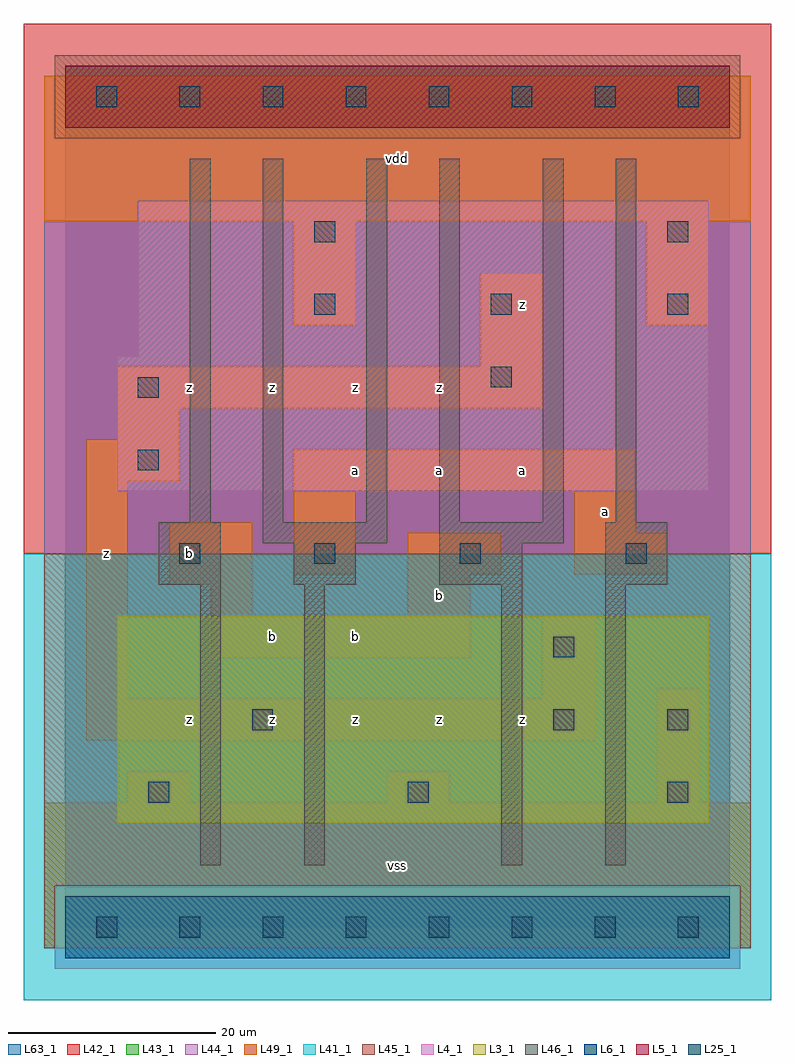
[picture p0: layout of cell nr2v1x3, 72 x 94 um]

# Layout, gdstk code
import gdstk
lib = gdstk.Library(unit=1e-6, precision=1e-09)
def R(c, l, rs):  # rectangles x0, y0, x1, y1
    for r in rs: c.add(gdstk.rectangle(r[:2], r[2:], *l))
def A(c, l, x, y, w, h, nx, ny, dx, dy):  # array of equal rectangles
    R(c, l, [(x+i*dx, y+j*dy, x+i*dx+w, y+j*dy+h) for i in range(nx) for j in range(ny)])
L3_1 = (3, 1)
L4_1 = (4, 1)
L5_1 = (5, 1)
L6_1 = (6, 1)
L25_1 = (25, 1)
L41_1 = (41, 1)
L42_1 = (42, 1)
L43_1 = (43, 1)
L44_1 = (44, 1)
L45_1 = (45, 1)
L46_1 = (46, 1)
L49_1 = (49, 1)
L63_1 = (63, 1)

nr2v1x3 = lib.new_cell('nr2v1x3')
R(nr2v1x3, L3_1, [(5,10,62,30)])
R(nr2v1x3, L4_1, [(5,42,62,55), (7,55,62,70)])
R(nr2v1x3, L5_1, [(0,77,64,83)])
R(nr2v1x3, L6_1, [(0,-3,64,3), (0,-3,64,3)])
A(nr2v1x3, L25_1, 3, -1, 2, 2, 8, 2, 8, 80)
A(nr2v1x3, L25_1, 8, 12, 2, 2, 3, 1, 25, 0)
A(nr2v1x3, L25_1, 24, 59, 2, 2, 3, 1, 17, 0)
R(nr2v1x3, L25_1, [(18,19,20,21), (47,19,49,21), (58,19,60,21), (47,26,49,28), (11,35,13,37), (24,35,26,37), (38,35,40,37), (54,35,56,37), (7,44,9,46), (7,51,9,53), (41,52,43,54), (24,66,26,68), (58,66,60,68)])
R(nr2v1x3, L41_1, [(-4,-7,68,36)])
R(nr2v1x3, L42_1, [(-4,36,68,87)])
R(nr2v1x3, L43_1, [(0,-3,64,3), (5,10,62,30), (5,42,62,55), (7,55,62,70), (0,77,64,83)])
R(nr2v1x3, L44_1, [(-1,-4,65,4), (-2,36,66,76), (-2,76,-1,82), (65,76,66,82)])
R(nr2v1x3, L45_1, [(-2,-2,-1,4), (65,-2,66,4), (-2,4,66,36), (-1,76,65,84)])
R(nr2v1x3, L46_1, [(13,6,15,33), (23,6,25,33), (42,6,44,33), (52,6,54,33), (9,33,15,39), (22,33,28,37), (36,33,44,37), (52,33,58,39), (19,37,31,39), (36,37,48,39), (12,39,14,74), (19,39,21,74), (29,39,31,74), (36,39,38,74), (46,39,48,74), (53,39,55,74)])
R(nr2v1x3, L49_1, [(-2,-2,66,12), (6,12,12,15), (31,12,37,15), (57,12,61,23), (2,18,51,22), (2,22,6,43), (46,22,51,30), (14,26,39,30), (14,30,18,33), (33,30,39,34), (10,33,18,39), (22,34,28,42), (33,34,42,38), (49,34,58,38), (49,38,55,42), (22,42,55,46), (2,43,11,47), (5,47,11,50), (5,50,46,54), (40,54,46,63), (22,58,28,68), (56,58,62,68), (-2,68,66,82)])
R(nr2v1x3, L63_1, [(0,0,64,80)])
nr2v1x3.add(gdstk.Label('z', (4,36), layer=49, texttype=1))
nr2v1x3.add(gdstk.Label('z', (12,20), layer=49, texttype=1))
nr2v1x3.add(gdstk.Label('b', (20,28), layer=49, texttype=1))
nr2v1x3.add(gdstk.Label('z', (20,20), layer=49, texttype=1))
nr2v1x3.add(gdstk.Label('b', (12,36), layer=49, texttype=1))
nr2v1x3.add(gdstk.Label('z', (20,52), layer=49, texttype=1))
nr2v1x3.add(gdstk.Label('z', (12,52), layer=49, texttype=1))
nr2v1x3.add(gdstk.Label('vss', (32,6), layer=49, texttype=1))
nr2v1x3.add(gdstk.Label('b', (28,28), layer=49, texttype=1))
nr2v1x3.add(gdstk.Label('z', (28,20), layer=49, texttype=1))
nr2v1x3.add(gdstk.Label('z', (36,20), layer=49, texttype=1))
nr2v1x3.add(gdstk.Label('b', (36,32), layer=49, texttype=1))
nr2v1x3.add(gdstk.Label('a', (28,44), layer=49, texttype=1))
nr2v1x3.add(gdstk.Label('a', (36,44), layer=49, texttype=1))
nr2v1x3.add(gdstk.Label('z', (36,52), layer=49, texttype=1))
nr2v1x3.add(gdstk.Label('z', (28,52), layer=49, texttype=1))
nr2v1x3.add(gdstk.Label('vdd', (32,74), layer=49, texttype=1))
nr2v1x3.add(gdstk.Label('z', (44,20), layer=49, texttype=1))
nr2v1x3.add(gdstk.Label('a', (44,44), layer=49, texttype=1))
nr2v1x3.add(gdstk.Label('z', (44,60), layer=49, texttype=1))
nr2v1x3.add(gdstk.Label('a', (52,40), layer=49, texttype=1))

lib.write_gds('nr2v1x3.gds')
